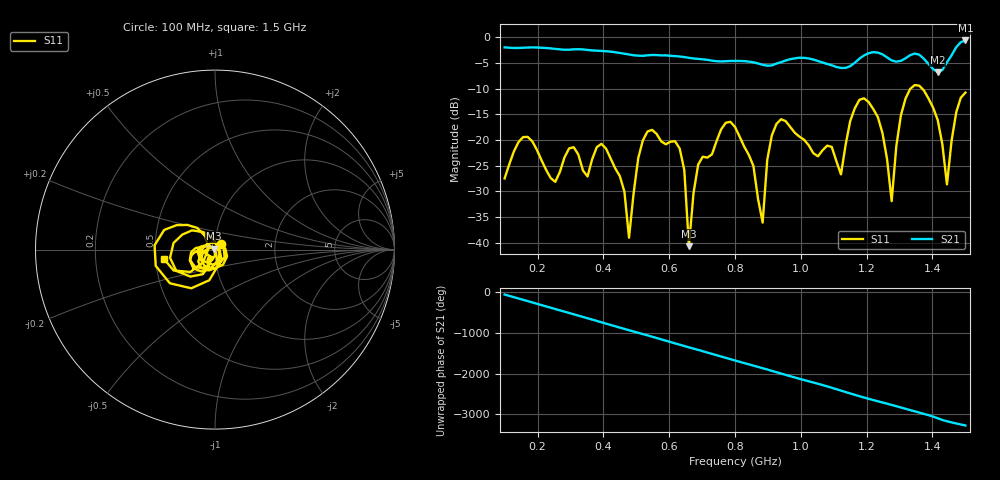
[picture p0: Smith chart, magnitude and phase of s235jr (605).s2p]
! NanoVNA-App
! Date: 2025-09-25 15:08:53
! Start: 100MHz Stop: 1,5GHz Points: 101
! S-Parameter data: F S11 S21 S12 S22
# Hz S RI R 50
!  Frequency  S11_Real  S11_Imag  S21_Real  S21_Imag  S12_Real  S12_Imag  S22_Real  S22_Imag
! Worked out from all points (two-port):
!   101 points, 100 MHz to 1.5 GHz, reference 50 ohm
!   highest |S21| = -0.62 dB at 1.5 GHz (marker M1); lowest = -6.8 dB at 1.416 GHz (marker M2)
!   |S21| within 3 dB of the highest: start of sweep to 606 MHz; 1.19 GHz to 1.255 GHz (64.92 MHz wide, 5.31 % of centre) (the widest 2 of 4)
!   lowest |S11| = -40.7 dB at 660 MHz (marker M3), VSWR 1.02, Z = 49.3 + j0.591 ohm
!   |S11| at or under -10 dB: start of sweep to 1.333 GHz; 1.369 GHz to end of sweep
!   S12 and S22 are empty: the file has one direction only
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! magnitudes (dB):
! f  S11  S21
! 100 MHz  -27.5  -2.0
! 156 MHz  -19.4  -2.0
! 338 MHz  -25.9  -2.4
! 408 MHz  -21.6  -2.7
! 478 MHz  -39.0  -3.4
! 520 MHz  -20.1  -3.6
! 576 MHz  -20.3  -3.5
! 632 MHz  -21.7  -3.7
! 660 MHz  -40.7  -4.0
! 688 MHz  -24.8  -4.2
! 800 MHz  -17.5  -4.6
! 884 MHz  -36.1  -5.4
! 926 MHz  -16.9  -5.1
! 1.038 GHz  -22.6  -4.3
! 1.122 GHz  -26.7  -6.0
! 1.192 GHz  -11.9  -3.5
! 1.248 GHz  -18.6  -3.3
! 1.276 GHz  -31.9  -4.5
! 1.332 GHz  -10.1  -3.5
! 1.416 GHz  -16.1  -6.8
! 1.444 GHz  -28.6  -4.9
! 1.5 GHz  -10.8  -0.6
